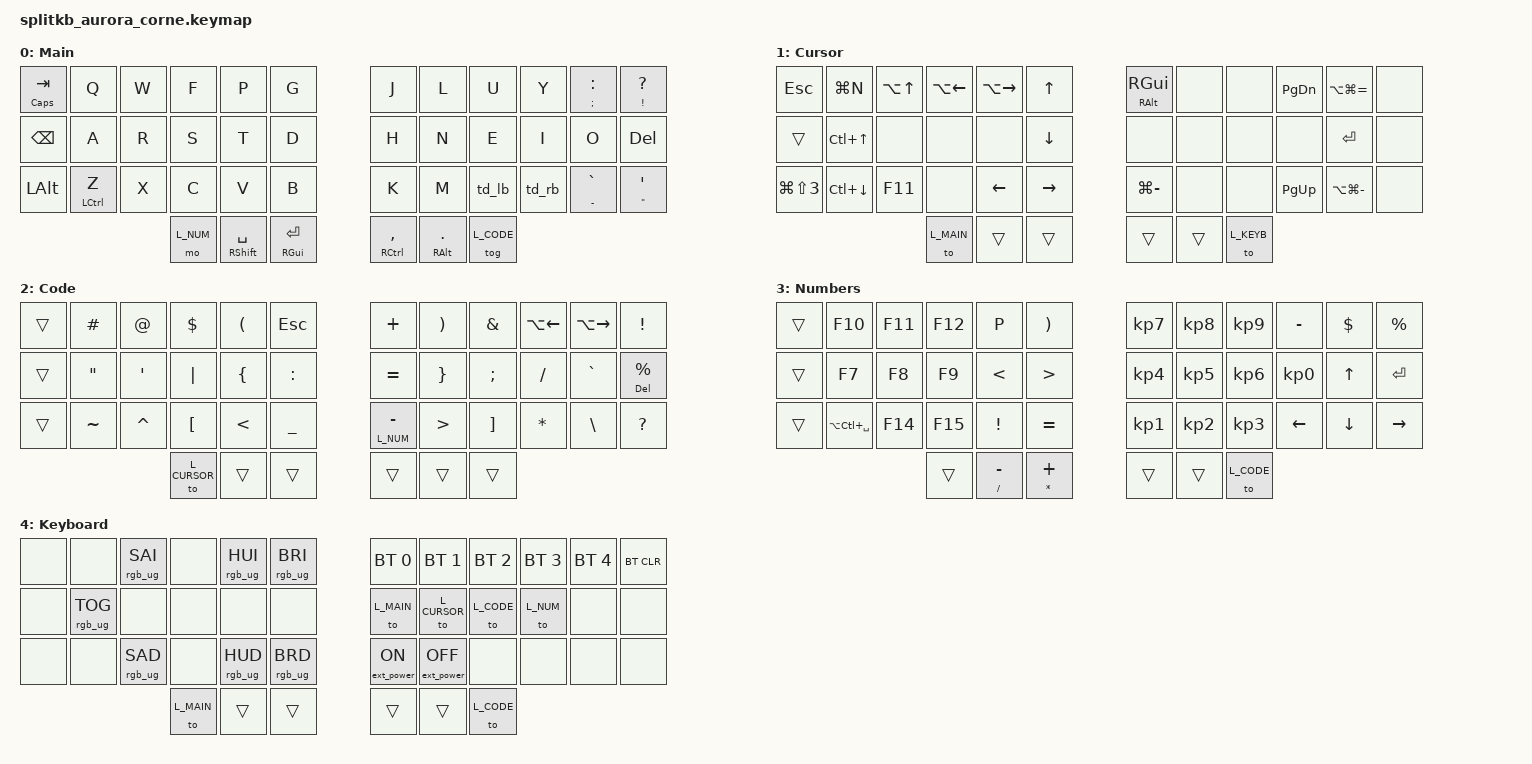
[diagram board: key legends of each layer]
#include <behaviors.dtsi>
#include <dt-bindings/zmk/keys.h>
#include <dt-bindings/zmk/bt.h>
#include <dt-bindings/zmk/rgb.h>
#include <dt-bindings/zmk/ext_power.h>

#define L_MAIN 0
#define L_CURSOR 1
#define L_CODE 2
#define L_NUM 3
#define L_KEYB 4

// 21 + 6 LEDs, from https://docs.splitkb.com/hc/en-us/articles/6485470153756-Aurora-Corne-schematics
&led_strip {
    chain-length = <27>;
};

// move nice!view CS pin to D0
&nice_view_spi {
	cs-gpios = <&pro_micro 0 GPIO_ACTIVE_HIGH>;
};

// more similar to IGNORE_MOD_TAP_INTERRUPT mod-taps
&mt {
    flavor = "balanced";
};

/ {
    behaviors {
        // tap-dance-like hold-tap which ignores interrupts using tap-preferred flavor
        ht: td_like_ht {
            compatible = "zmk,behavior-hold-tap";
            label = "TD_LIKE_HT";
            #binding-cells = <2>;
            flavor = "tap-preferred";
            tapping-term-ms = <200>;
            bindings = <&kp>, <&kp>;
        };

        // to layer on hold, key press on tap
        to_kp: to_kp {
            compatible = "zmk,behavior-hold-tap";
            label = "TO_KP";
            #binding-cells = <2>;
            flavor = "tap-preferred";
            tapping-term-ms = <200>;
            bindings = <&to>, <&kp>;
        };

        // tap=(, hold={, double tap=<, tap then hold=[
        td_lb: tap_dance_left_bracket {
            compatible = "zmk,behavior-tap-dance";
            label = "TD_LB";
            #binding-cells = <0>;
            tapping-term-ms = <200>;
            bindings = <&ht LBRC LPAR>, <&ht LBKT LT>;
        };

        // tap=), hold=}, double tap=>, tap then hold=]
        td_rb: tap_dance_right_bracket {
            compatible = "zmk,behavior-tap-dance";
            label = "TD_RB";
            #binding-cells = <0>;
            tapping-term-ms = <200>;
            bindings = <&ht RBRC RPAR>, <&ht RBKT GT>;
        };
    };

    keymap {
        compatible = "zmk,keymap";

        default_layer {
            label = "Main";
            bindings = <
&ht CAPS TAB &kp Q      &kp W &kp F     &kp P           &kp G          &kp J          &kp L          &kp U  &kp Y  &ht SEMI COLON  &ht EXCL QMARK
&kp BSPC     &kp A      &kp R &kp S     &kp T           &kp D          &kp H          &kp N          &kp E  &kp I  &kp O           &kp DEL
&kp LALT     &mt LCTL Z &kp X &kp C     &kp V           &kp B          &kp K          &kp M          &td_lb &td_rb &ht MINUS GRAVE &ht DQT SQT
                              &mo L_NUM &mt RSHFT SPACE &mt RGUI RET   &mt RCTL COMMA &mt RALT DOT   &tog L_CODE
            >;
        };

        cursor_layer {
            label = "Cursor";
            bindings = <
&kp ESC        &kp LG(N)    &kp LA(UP) &kp LA(LEFT) &kp LA(RIGHT) &kp UP       &mt RALT RGUI &none  &none &kp PG_DN &kp LA(LG(EQUAL)) &none
&trans         &kp LC(UP)   &none      &none        &none         &kp DOWN     &none         &none  &none &none     &kp RET           &none
&kp LG(LS(N3)) &kp LC(DOWN) &kp F11    &none        &kp LEFT      &kp RIGHT    &kp LG(MINUS) &none  &none &kp PG_UP &kp LA(LG(MINUS)) &none
                                       &to L_MAIN   &trans        &trans       &trans        &trans &to L_KEYB
            >;
        };

        code_layer {
            label = "Code";
            bindings = <
&trans &kp HASH  &kp AT    &kp DLLR     &kp LPAR &kp ESC     &kp PLUS           &kp RPAR &kp AMPS &kp LA(LEFT) &kp LA(RIGHT) &kp EXCL
&trans &kp DQT   &kp SQT   &kp PIPE     &kp LBRC &kp COLON   &kp EQUAL          &kp RBRC &kp SEMI &kp SLASH    &kp GRAVE     &ht DEL PRCNT
&trans &kp TILDE &kp CARET &kp LBKT     &kp LT   &kp UNDER   &to_kp L_NUM MINUS &kp GT   &kp RBKT &kp STAR     &kp BSLH      &kp QMARK
                           &to L_CURSOR &trans   &trans      &trans             &trans   &trans
            >;
        };

        numbers_layer {
            label = "Numbers";
            bindings = <
&trans &kp F10           &kp F11 &kp F12 &kp P           &kp RPAR        &kp KP_N7 &kp KP_N8 &kp KP_N9 &kp MINUS &kp DLLR  &kp PRCNT 
&trans &kp F7            &kp F8  &kp F9  &kp LT          &kp GT          &kp KP_N4 &kp KP_N5 &kp KP_N6 &kp KP_N0 &kp UP    &kp ENTER 
&trans &kp LA(LC(SPACE)) &kp F14 &kp F15 &kp EXCL        &kp EQUAL       &kp KP_N1 &kp KP_N2 &kp KP_N3 &kp LEFT  &kp DOWN  &kp RIGHT
                                 &trans  &ht SLASH MINUS &ht STAR PLUS   &trans    &trans    &to L_CODE
            >;
        };

        keyboard_layer {
            label = "Keyboard";
            bindings = <
&none &none           &rgb_ug RGB_SAI &none      &rgb_ug RGB_HUI &rgb_ug RGB_BRI   &bt BT_SEL 0     &bt BT_SEL 1      &bt BT_SEL 2 &bt BT_SEL 3 &bt BT_SEL 4 &bt BT_CLR
&none &rgb_ug RGB_TOG &none           &none      &none           &none             &to L_MAIN       &to L_CURSOR      &to L_CODE   &to L_NUM    &none        &none
&none &none           &rgb_ug RGB_SAD &none      &rgb_ug RGB_HUD &rgb_ug RGB_BRD   &ext_power EP_ON &ext_power EP_OFF &none        &none        &none        &none
                                      &to L_MAIN &trans          &trans            &trans           &trans            &to L_CODE
            >;
        };
    };
};
